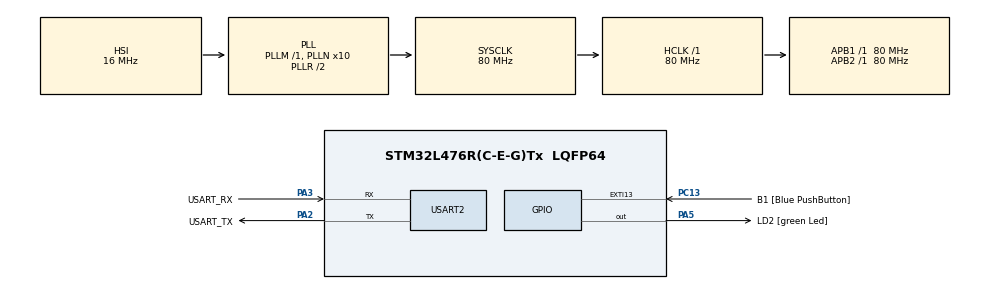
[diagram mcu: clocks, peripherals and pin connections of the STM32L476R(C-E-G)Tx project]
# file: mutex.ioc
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Mcu.Family=STM32L4
Mcu.Name=STM32L476R(C-E-G)Tx
Mcu.Package=LQFP64
NVIC.PriorityGroup=NVIC_PRIORITYGROUP_4
NVIC.TIM6_DAC_IRQn=true\:15\:0\:false\:false\:true\:false\:true\:true
NVIC.TimeBase=TIM6_DAC_IRQn
NVIC.TimeBaseIP=TIM6
PA13\ (JTMS-SWDIO).GPIO_Label=TMS
PA13\ (JTMS-SWDIO).Signal=SYS_JTMS-SWDIO
PA14\ (JTCK-SWCLK).GPIO_Label=TCK
PA14\ (JTCK-SWCLK).Signal=SYS_JTCK-SWCLK
PA2.GPIO_Label=USART_TX
PA2.GPIO_Mode=GPIO_MODE_AF_PP
PA2.GPIO_PuPd=GPIO_NOPULL
PA2.GPIO_Speed=GPIO_SPEED_FREQ_VERY_HIGH
PA2.Mode=Asynchronous
PA2.Signal=USART2_TX
PA3.GPIO_Label=USART_RX
PA3.GPIO_Mode=GPIO_MODE_AF_PP
PA3.GPIO_PuPd=GPIO_NOPULL
PA3.GPIO_Speed=GPIO_SPEED_FREQ_VERY_HIGH
PA3.Mode=Asynchronous
PA3.Signal=USART2_RX
PA5.GPIO_Label=LD2 [green Led]
PA5.GPIO_ModeDefaultOutputPP=GPIO_MODE_OUTPUT_PP
PA5.GPIO_PuPd=GPIO_NOPULL
PA5.GPIO_Speed=GPIO_SPEED_FREQ_LOW
PA5.Signal=GPIO_Output
PB3\ (JTDO-TRACESWO).GPIO_Label=SWO
PB3\ (JTDO-TRACESWO).Signal=SYS_JTDO-SWO
PC13.GPIO_Label=B1 [Blue PushButton]
PC13.GPIO_ModeDefaultEXTI=GPIO_MODE_IT_FALLING
PC13.GPIO_PuPd=GPIO_NOPULL
PC13.Signal=GPXTI13
PC14-OSC32_IN\ (PC14).Signal=RCC_OSC32_IN
PC15-OSC32_OUT\ (PC15).Signal=RCC_OSC32_OUT
PH0-OSC_IN\ (PH0).Signal=RCC_OSC_IN
PH1-OSC_OUT\ (PH1).Signal=RCC_OSC_OUT
ProjectManager.HeapSize=0x200
ProjectManager.StackSize=0x400
ProjectManager.TargetToolchain=STM32CubeIDE
RCC.ADCFreq_Value=64000000
RCC.AHBFreq_Value=80000000
RCC.APB1Freq_Value=80000000
RCC.APB1TimFreq_Value=80000000
RCC.APB2Freq_Value=80000000
RCC.APB2TimFreq_Value=80000000
RCC.CortexFreq_Value=80000000
RCC.HCLKFreq_Value=80000000
RCC.HSE_VALUE=8000000
RCC.HSI_VALUE=16000000
RCC.MSI_VALUE=4000000
RCC.PLLN=10
RCC.PLLSourceVirtual=RCC_PLLSOURCE_HSI
RCC.PREFETCH_ENABLE=1
RCC.SYSCLKFreq_VALUE=80000000
RCC.SYSCLKSource=RCC_SYSCLKSOURCE_PLLCLK
RCC.USBFreq_Value=64000000
RCC.VCOOutputFreq_Value=160000000
USART2.VirtualMode-Asynchronous=VM_ASYNC
VP_SYS_VS_tim6.Mode=TIM6
board=NUCLEO-L476RG

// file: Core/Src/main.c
/* USER CODE BEGIN Header */
/**
  ******************************************************************************
  * @file           : main.c
  * @brief          : Main program body
  ******************************************************************************
  * @attention
  *
  * Copyright (c) 2023 STMicroelectronics.
  * All rights reserved.
  *
  * This software is licensed under terms that can be found in the LICENSE file
  * in the root directory of this software component.
  * If no LICENSE file comes with this software, it is provided AS-IS.
  *
  ******************************************************************************
  */
/* USER CODE END Header */
#include "main.h"

/* USER CODE BEGIN Includes */
#include "FreeRTOS.h"
#include "task.h"
#include <stdio.h>
#include "semphr.h"
/* USER CODE END Includes */

UART_HandleTypeDef huart2;

/* USER CODE BEGIN PV */
#define DWT_CTRL  (*(volatile uint32_t*)0xE0001000)
/* USER CODE END PV */

void SystemClock_Config(void);
static void MX_GPIO_Init(void);
static void MX_USART2_UART_Init(void);
/* USER CODE BEGIN PFP */
void task1_handler(void *parameter);
void task2_handler(void *parameter);
/* USER CODE END PFP */

/* USER CODE BEGIN 0 */
TaskHandle_t task1_handle;
TaskHandle_t task2_handle;
BaseType_t status;
SemaphoreHandle_t xMutex;
/* USER CODE END 0 */

int main(void)
{

  /* MCU Configuration--------------------------------------------------------*/

  /* Reset of all peripherals, Initializes the Flash interface and the Systick. */
  HAL_Init();

  /* Configure the system clock */
  SystemClock_Config();

  /* Initialize all configured peripherals */
  MX_GPIO_Init();
  MX_USART2_UART_Init();
  /* USER CODE BEGIN 2 */
  DWT_CTRL |= (1<<0);
  SEGGER_SYSVIEW_Conf();
  SEGGER_SYSVIEW_Start();
  status  = xTaskCreate(task1_handler, "Task1", 200, NULL, 2, &task1_handle);
  configASSERT(status == pdPASS);
  status = xTaskCreate(task2_handler, "Task2", 200, NULL, 2, &task2_handle);
  configASSERT(status == pdPASS);

  xMutex = xSemaphoreCreateMutex();
  vTaskStartScheduler();
  /* USER CODE END 2 */

  /* Infinite loop */
  while (1)
  {

  }
}

void SystemClock_Config(void)
{
  RCC_OscInitTypeDef RCC_OscInitStruct = {0};
  RCC_ClkInitTypeDef RCC_ClkInitStruct = {0};

  /** Configure the main internal regulator output voltage
  */
  if (HAL_PWREx_ControlVoltageScaling(PWR_REGULATOR_VOLTAGE_SCALE1) != HAL_OK)
  {
    Error_Handler();
  }

  /** Initializes the RCC Oscillators according to the specified parameters
  * in the RCC_OscInitTypeDef structure.
  */
  RCC_OscInitStruct.OscillatorType = RCC_OSCILLATORTYPE_HSI;
  RCC_OscInitStruct.HSIState = RCC_HSI_ON;
  RCC_OscInitStruct.HSICalibrationValue = RCC_HSICALIBRATION_DEFAULT;
  RCC_OscInitStruct.PLL.PLLState = RCC_PLL_ON;
  RCC_OscInitStruct.PLL.PLLSource = RCC_PLLSOURCE_HSI;
  RCC_OscInitStruct.PLL.PLLM = 1;
  RCC_OscInitStruct.PLL.PLLN = 10;
  RCC_OscInitStruct.PLL.PLLP = RCC_PLLP_DIV7;
  RCC_OscInitStruct.PLL.PLLQ = RCC_PLLQ_DIV2;
  RCC_OscInitStruct.PLL.PLLR = RCC_PLLR_DIV2;
  if (HAL_RCC_OscConfig(&RCC_OscInitStruct) != HAL_OK)
  {
    Error_Handler();
  }

  /** Initializes the CPU, AHB and APB buses clocks
  */
  RCC_ClkInitStruct.ClockType = RCC_CLOCKTYPE_HCLK|RCC_CLOCKTYPE_SYSCLK
                              |RCC_CLOCKTYPE_PCLK1|RCC_CLOCKTYPE_PCLK2;
  RCC_ClkInitStruct.SYSCLKSource = RCC_SYSCLKSOURCE_PLLCLK;
  RCC_ClkInitStruct.AHBCLKDivider = RCC_SYSCLK_DIV1;
  RCC_ClkInitStruct.APB1CLKDivider = RCC_HCLK_DIV1;
  RCC_ClkInitStruct.APB2CLKDivider = RCC_HCLK_DIV1;

  if (HAL_RCC_ClockConfig(&RCC_ClkInitStruct, FLASH_LATENCY_4) != HAL_OK)
  {
    Error_Handler();
  }
}

static void MX_USART2_UART_Init(void)
{

  huart2.Instance = USART2;
  huart2.Init.BaudRate = 115200;
  huart2.Init.WordLength = UART_WORDLENGTH_8B;
  huart2.Init.StopBits = UART_STOPBITS_1;
  huart2.Init.Parity = UART_PARITY_NONE;
  huart2.Init.Mode = UART_MODE_TX_RX;
  huart2.Init.HwFlowCtl = UART_HWCONTROL_NONE;
  huart2.Init.OverSampling = UART_OVERSAMPLING_16;
  huart2.Init.OneBitSampling = UART_ONE_BIT_SAMPLE_DISABLE;
  huart2.AdvancedInit.AdvFeatureInit = UART_ADVFEATURE_NO_INIT;
  if (HAL_UART_Init(&huart2) != HAL_OK)
  {
    Error_Handler();
  }

}

static void MX_GPIO_Init(void)
{
  GPIO_InitTypeDef GPIO_InitStruct = {0};

  /* GPIO Ports Clock Enable */
  __HAL_RCC_GPIOC_CLK_ENABLE();
  __HAL_RCC_GPIOH_CLK_ENABLE();
  __HAL_RCC_GPIOA_CLK_ENABLE();
  __HAL_RCC_GPIOB_CLK_ENABLE();

  /*Configure GPIO pin Output Level */
  HAL_GPIO_WritePin(LD2_GPIO_Port, LD2_Pin, GPIO_PIN_RESET);

  /*Configure GPIO pin : B1_Pin */
  GPIO_InitStruct.Pin = B1_Pin;
  GPIO_InitStruct.Mode = GPIO_MODE_IT_FALLING;
  GPIO_InitStruct.Pull = GPIO_NOPULL;
  HAL_GPIO_Init(B1_GPIO_Port, &GPIO_InitStruct);

  /*Configure GPIO pin : LD2_Pin */
  GPIO_InitStruct.Pin = LD2_Pin;
  GPIO_InitStruct.Mode = GPIO_MODE_OUTPUT_PP;
  GPIO_InitStruct.Pull = GPIO_NOPULL;
  GPIO_InitStruct.Speed = GPIO_SPEED_FREQ_LOW;
  HAL_GPIO_Init(LD2_GPIO_Port, &GPIO_InitStruct);

}

/* USER CODE BEGIN 4 */

char msg[10];

//XXXXXXXXXXXXXXXXXXXXXXXXXXXXXXXXXXXXXXXXXXXXXXXXXXXXXXXXXXXXXXXXXXXXXXXXXXXXXXXXXXXX
//////////////////XXXXXXXXXXX Without Mutex XXXXXXXXXXXXX\\\\\\\\\\\\\\\\\\\\\\\\\\\\\\
//XXXXXXXXXXXXXXXXXXXXXXXXXXXXXXXXXXXXXXXXXXXXXXXXXXXXXXXXXXXXXXXXXXXXXXXXXXXXXXXXXXXX

//void task1_handler(void *parameter)
//{
//	char msg1[9] = "Potatoes";
//	while(1){
//		int i;
//		for(i = 0;i<9;i++){
//			msg[i] = msg1[i];
//			vTaskDelay(pdMS_TO_TICKS(100));
//		}
//		printf("%s\n",msg);
//
//	}
//}
//
//void task2_handler(void *parameter)
//{
//	char msg2[9] = "Tomatoes";
//	while(1){
//		int i;
//		for(i = 0;i<9;i++){
//			msg[i] = msg2[i];
//			vTaskDelay(pdMS_TO_TICKS(100));
//		}
//
//		printf("%s\n",msg);
//	}
//}

//XXXXXXXXXXXXXXXXXXXXXXXXXXXXXXXXXXXXXXXXXXXXXXXXXXXXXXXXXXXXXXXXXXXXXXXXXXXXXXXXXXXX
//////////////////XXXXXXXXXXX With Mutex XXXXXXXXXXXXX\\\\\\\\\\\\\\\\\\\\\\\\\\\\\\
//XXXXXXXXXXXXXXXXXXXXXXXXXXXXXXXXXXXXXXXXXXXXXXXXXXXXXXXXXXXXXXXXXXXXXXXXXXXXXXXXXXXX
void task1_handler(void *parameter)
{
	char msg1[9] = "Potatoes";
	while(1){
		if( xSemaphoreTake( xMutex, portMAX_DELAY ) == pdTRUE ){
			int i;
			for(i = 0;i<9;i++){
				msg[i] = msg1[i];
			}
			printf("%s\n",msg);

			xSemaphoreGive(xMutex);
		}
		vTaskDelay(pdMS_TO_TICKS(100));
	}
}

void task2_handler(void *parameter)
{
	char msg2[9] = "Tomatoes";
	while(1)
	{
		if( xSemaphoreTake( xMutex, portMAX_DELAY ) == pdTRUE ){
			int i;
			for(i = 0;i<9;i++){
				msg[i] = msg2[i];
			}
			printf("%s\n",msg);

			xSemaphoreGive(xMutex);
		}
		vTaskDelay(pdMS_TO_TICKS(100));
	}
}

/* USER CODE END 4 */

void HAL_TIM_PeriodElapsedCallback(TIM_HandleTypeDef *htim)
{
  if (htim->Instance == TIM6) {
    HAL_IncTick();
  }
}

void Error_Handler(void)
{
  __disable_irq();
  while (1)
  {
  }
}
